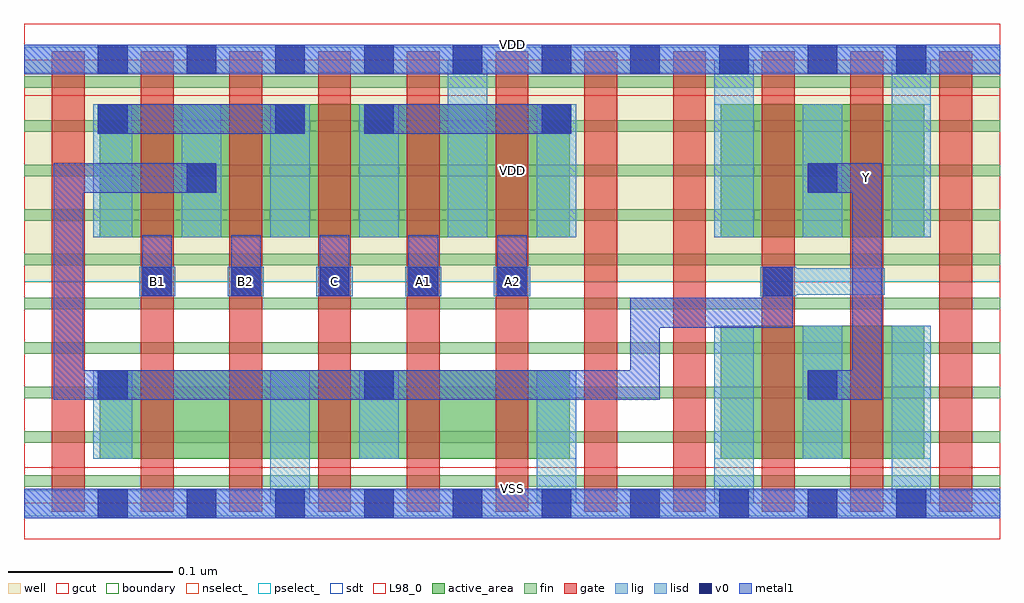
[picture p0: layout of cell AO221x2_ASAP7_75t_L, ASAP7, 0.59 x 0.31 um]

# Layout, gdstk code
import gdstk
lib = gdstk.Library(unit=1e-6, precision=2.5e-10)
def R(c, l, rs):  # rectangles x0, y0, x1, y1
    for r in rs: c.add(gdstk.rectangle(r[:2], r[2:], *l))
def A(c, l, x, y, w, h, nx, ny, dx, dy):  # array of equal rectangles
    R(c, l, [(x+i*dx, y+j*dy, x+i*dx+w, y+j*dy+h) for i in range(nx) for j in range(ny)])
def P(c, l, *ps):  # polygons
    for p in ps: c.add(gdstk.Polygon(p, *l))
well = (1, 0)
fin = (2, 0)
gate = (7, 0)
gcut = (10, 0)
active_area = (11, 0)
nselect_ = (12, 0)
pselect_ = (13, 0)
lig = (16, 0)
lisd = (17, 0)
v0 = (18, 0)
metal1 = (19, 0)
sdt = (88, 0)
L98_0 = (98, 0)
boundary = (100, 0)

ao221x2_asap7_75t_l = lib.new_cell('AO221x2_ASAP7_75t_L')
R(ao221x2_asap7_75t_l, well, [(0,0.135,0.594,0.27)])
A(ao221x2_asap7_75t_l, fin, 0, 0.01, 0.594, 0.007, 1, 10, 0, 0.027)
A(ao221x2_asap7_75t_l, gate, 0.017, -0.005, 0.02, 0.28, 11, 1, 0.054, 0)
R(ao221x2_asap7_75t_l, gcut, [(0,-0.022,0.594,0.022), (0,0.248,0.594,0.292)])
R(ao221x2_asap7_75t_l, active_area, [(0.046,0.027,0.332,0.081), (0.424,0.027,0.548,0.108), (0.046,0.162,0.332,0.243), (0.424,0.162,0.548,0.243)])
R(ao221x2_asap7_75t_l, nselect_, [(0,0,0.594,0.135)])
R(ao221x2_asap7_75t_l, pselect_, [(0,0.135,0.594,0.27)])
A(ao221x2_asap7_75t_l, lig, 0.07, 0.126, 0.022, 0.018, 5, 1, 0.054, 0)
R(ao221x2_asap7_75t_l, lig, [(0,-0.008,0.594,0.008), (0.448,0.126,0.47,0.144), (0.448,0.127,0.524,0.143), (0,0.262,0.594,0.278)])
A(ao221x2_asap7_75t_l, lisd, 0.042, 0.162, 0.024, 0.081, 4, 1, 0.054, 0)
R(ao221x2_asap7_75t_l, lisd, [(0.15,0,0.174,0.081), (0.15,0,0.174,0.081), (0.312,0,0.336,0.081), (0.312,0,0.336,0.081), (0.42,0,0.444,0.108), (0.42,0,0.444,0.108), (0.528,0,0.552,0.108), (0.528,0,0.552,0.108), (0.042,0.027,0.066,0.081), (0.204,0.027,0.228,0.081), (0.474,0.027,0.498,0.108), (0.258,0.162,0.282,0.27), (0.258,0.162,0.282,0.27), (0.312,0.162,0.336,0.243), (0.42,0.162,0.444,0.27), (0.42,0.162,0.444,0.27), (0.474,0.162,0.498,0.243), (0.528,0.162,0.552,0.27), (0.528,0.162,0.552,0.27)])
A(ao221x2_asap7_75t_l, v0, 0.045, -0.009, 0.018, 0.018, 10, 2, 0.054, 0.27)
A(ao221x2_asap7_75t_l, v0, 0.072, 0.126, 0.018, 0.018, 5, 1, 0.054, 0)
R(ao221x2_asap7_75t_l, v0, [(0.045,0.063,0.063,0.081), (0.207,0.063,0.225,0.081), (0.477,0.063,0.495,0.081), (0.45,0.126,0.468,0.144), (0.099,0.189,0.117,0.207), (0.477,0.189,0.495,0.207), (0.045,0.225,0.063,0.243), (0.153,0.225,0.171,0.243), (0.207,0.225,0.225,0.243), (0.315,0.225,0.333,0.243)])
A(ao221x2_asap7_75t_l, metal1, 0.072, 0.126, 0.018, 0.018, 5, 1, 0.054, 0)
A(ao221x2_asap7_75t_l, metal1, 0.072, 0.126, 0.018, 0.037, 5, 1, 0.054, 0)
R(ao221x2_asap7_75t_l, metal1, [(0,-0.009,0.594,0.009), (0.045,0.063,0.063,0.081), (0.207,0.063,0.225,0.081), (0.477,0.063,0.495,0.081), (0.45,0.126,0.468,0.144), (0.099,0.189,0.117,0.207), (0.477,0.189,0.495,0.207), (0.045,0.225,0.063,0.243), (0.045,0.225,0.171,0.243), (0.153,0.225,0.171,0.243), (0.207,0.225,0.225,0.243), (0.207,0.225,0.333,0.243), (0.315,0.225,0.333,0.243), (0,0.261,0.594,0.279)])
P(ao221x2_asap7_75t_l, metal1, [(0.468,0.144),(0.45,0.144),(0.45,0.125),(0.369,0.125),(0.369,0.081),(0.036,0.081),(0.036,0.189),(0.117,0.189),(0.117,0.207),(0.018,0.207),(0.018,0.063),(0.387,0.063),(0.387,0.107),(0.468,0.107)],
  [(0.477,0.207),(0.477,0.189),(0.504,0.189),(0.504,0.081),(0.477,0.081),(0.477,0.063),(0.522,0.063),(0.522,0.207)])
A(ao221x2_asap7_75t_l, sdt, 0.42, 0.027, 0.024, 0.081, 3, 2, 0.054, 0.135)
A(ao221x2_asap7_75t_l, sdt, 0.042, 0.162, 0.024, 0.081, 5, 1, 0.054, 0)
R(ao221x2_asap7_75t_l, sdt, [(0.042,0.027,0.066,0.081), (0.15,0.027,0.174,0.081), (0.15,0.027,0.174,0.081), (0.204,0.027,0.228,0.081), (0.312,0.027,0.336,0.081), (0.312,0.027,0.336,0.081), (0.42,0.027,0.444,0.108), (0.528,0.027,0.552,0.108), (0.258,0.162,0.282,0.243), (0.312,0.162,0.336,0.243), (0.42,0.162,0.444,0.243), (0.528,0.162,0.552,0.243)])
R(ao221x2_asap7_75t_l, L98_0, [(0,0,0.594,0.27)])
R(ao221x2_asap7_75t_l, boundary, [(0,0,0.594,0.27)])
ao221x2_asap7_75t_l.add(gdstk.Label('VDD', (0.297,0.2025), layer=1, texttype=251))
ao221x2_asap7_75t_l.add(gdstk.Label('VSS', (0.297,-0.0675), layer=3, texttype=251))
ao221x2_asap7_75t_l.add(gdstk.Label('VSS', (0.297,0.009), layer=19, texttype=251))
ao221x2_asap7_75t_l.add(gdstk.Label('VDD', (0.297,0.279), layer=19, texttype=251))
ao221x2_asap7_75t_l.add(gdstk.Label('B1', (0.081,0.135), layer=19, texttype=251))
ao221x2_asap7_75t_l.add(gdstk.Label('B2', (0.135,0.135), layer=19, texttype=251))
ao221x2_asap7_75t_l.add(gdstk.Label('C', (0.189,0.135), layer=19, texttype=251))
ao221x2_asap7_75t_l.add(gdstk.Label('A1', (0.243,0.135), layer=19, texttype=251))
ao221x2_asap7_75t_l.add(gdstk.Label('A2', (0.297,0.135), layer=19, texttype=251))
ao221x2_asap7_75t_l.add(gdstk.Label('Y', (0.513,0.198), layer=19, texttype=251))

lib.write_gds('AO221x2_ASAP7_75t_L.gds')
